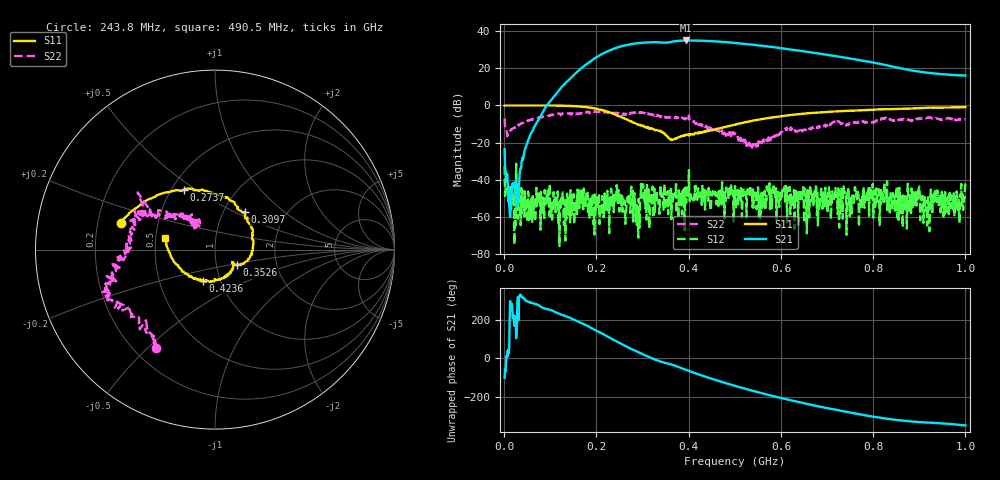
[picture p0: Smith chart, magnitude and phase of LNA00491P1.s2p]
! Created with skrf 1.9.0 (http://scikit-rf.org).
# Hz S RI R 50.0
!freq ReS11 ImS11 ReS21 ImS21 ReS12 ImS12 ReS22 ImS22
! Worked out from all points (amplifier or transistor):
!   1001 points, 1 MHz to 1 GHz, reference 50 ohm
!   highest |S21| = 35.0 dB at 394.6 MHz (marker M1)
!   |S21| within 3 dB of that: 256.1 MHz to 563.5 MHz (307.4 MHz wide, 75 % of centre)
!   unconditionally stable (mu >= 1): 247.8 MHz to 296.6 MHz; 301.5 MHz to 400.2 MHz; 401 MHz to end of sweep (the widest 3 of 47)
!   at 166.8 MHz: K = 0.33, MSG = 33.3 dB, |S12| = -46.8 dB
!   at 500.5 MHz: K = 1.49, MAG = 34.4 dB, |S12| = -43.3 dB
!   at 1 GHz: K = 1.68, MAG = 24.2 dB, |S12| = -41.9 dB
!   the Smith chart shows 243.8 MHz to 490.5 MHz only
!   S11 on the Smith chart (normalised r, x): 243.8 MHz: 0.30, +0.12; 273.7 MHz: 0.58, +0.45; 309.7 MHz: 1.26, +0.56; 352.6 MHz: 1.26, -0.22; 423.6 MHz: 0.83, -0.30; 490.5 MHz: 0.56, +0.08
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1000000  0.9861 0.00554  -0.0112 -0.066  -0.0217 -0.00886  0.3223 0.3139
1.08892e8  0.5213 -0.8494  -0.8385 -1.571  0.00193 -0.000352  0.4221 -0.3741
1.67833e8  -0.2333 -0.8983  -10.18 -0.4478  -0.00203 -0.000226  0.0451 -0.6221
2.09791e8  -0.6643 -0.3767  -15.49 17.43  0.000897 -0.000668  -0.2141 -0.6502
2.26774e8  -0.6597 -0.0952  -9.886 27.84  -0.0029 0.000696  -0.2812 -0.5836
2.43757e8  -0.5249 0.1466  1.461 35.74  0.00146 -0.00705  -0.326 -0.5479
2.73727e8  -0.1752 0.3334  27.83 34.3  -0.00125 -0.000253  -0.5381 -0.3295
3.09691e8  0.1655 0.2089  48.73 10.17  -0.00367 0.00631  -0.604 -0.1467
3.34666e8  0.2102 -0.00105  48.9 -10.73  0.000677 0.00217  -0.5245 -0.0423
3.52648e8  0.1242 -0.0856  44.44 -20.79  -0.000413 0.00224  -0.4894 0.0419
3.72628e8  0.1047 -0.0829  41.88 -34.05  -0.000395 0.00771  -0.4707 0.1607
3.94606e8  0.0677 -0.1453  28.38 -48.29  -0.000784 0.00225  -0.41 0.1945
4.23577e8  -0.0657 -0.1726  5.556 -55.08  0.00339 0.00267  -0.2506 0.1846
4.55545e8  -0.2012 -0.0987  -17.57 -49.97  0.0035 0.000787  -0.1554 0.1852
4.9051e8  -0.277 0.0659  -34.54 -34.83  0.00055 0.00398  -0.1165 0.1517
5.005e8  -0.2813 0.1155  -38.05 -29.8  -0.00546 0.00407  -0.1072 0.1431
5.4046e8  -0.2216 0.3254  -41.85 -8.702  0.000705 -0.00162  -0.0891 0.0221
5.88412e8  -0.0316 0.4881  -34.61 11.19  0.00199 -0.00264  -0.1347 -0.0659
6.67333e8  0.3359 0.5299  -12.94 23.02  0.00261 -0.000515  -0.2463 -0.0237
7.53247e8  0.629 0.362  3.507 17.72  0.000957 0.00078  -0.3165 0.07
8.34166e8  0.7835 0.1382  7.984 8.574  -0.00093 0.00269  -0.4103 0.1644
1e9  0.8093 -0.3975  6.223 1.511  -0.00791 0.0013  -0.0615 0.4084
